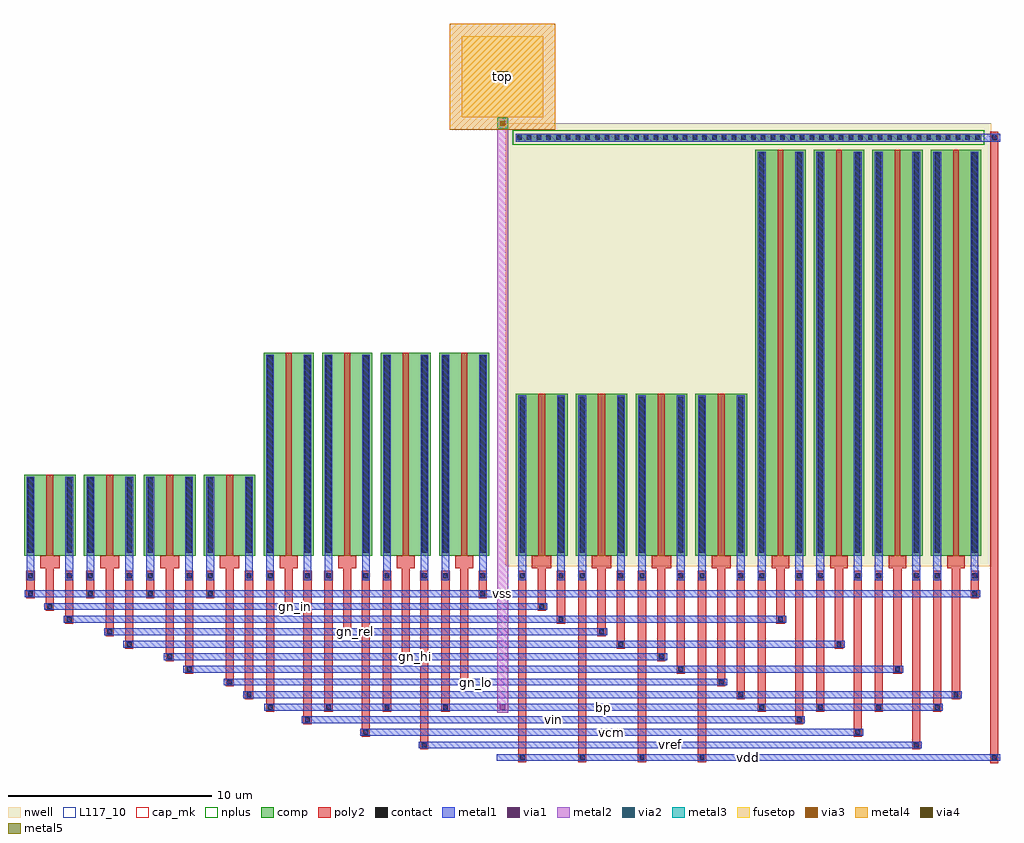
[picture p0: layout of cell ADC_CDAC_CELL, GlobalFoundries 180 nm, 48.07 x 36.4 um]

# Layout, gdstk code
import gdstk
lib = gdstk.Library(unit=1e-6, precision=1e-09)
def R(c, l, rs):  # rectangles x0, y0, x1, y1
    for r in rs: c.add(gdstk.rectangle(r[:2], r[2:], *l))
def A(c, l, x, y, w, h, nx, ny, dx, dy):  # array of equal rectangles
    R(c, l, [(x+i*dx, y+j*dy, x+i*dx+w, y+j*dy+h) for i in range(nx) for j in range(ny)])
nwell = (21, 0)
comp = (22, 0)
poly2 = (30, 0)
nplus = (32, 0)
contact = (33, 0)
metal1 = (34, 0)
via1 = (35, 0)
metal2 = (36, 0)
via2 = (38, 0)
via3 = (40, 0)
via4 = (41, 0)
metal3 = (42, 0)
metal4 = (46, 0)
fusetop = (75, 0)
metal5 = (81, 0)
cap_mk = (117, 5)
L117_10 = (117, 10)

adc_cdac_cell = lib.new_cell('ADC_CDAC_CELL')
R(adc_cdac_cell, nwell, [(23.72,-0.5,47.64,21.3)])
A(adc_cdac_cell, comp, 0, 0, 2.55, 4, 4, 1, 2.95, 0)
A(adc_cdac_cell, comp, 11.8, 0, 2.48, 10, 4, 1, 2.88, 0)
A(adc_cdac_cell, comp, 24.22, 0, 2.55, 8, 4, 1, 2.95, 0)
A(adc_cdac_cell, comp, 36.02, 0, 2.48, 20, 4, 1, 2.88, 0)
R(adc_cdac_cell, comp, [(24.22,20.4,47.14,20.8)])
A(adc_cdac_cell, poly2, 24.34, -10.15, 0.4, 8.95, 4, 1, 2.95, 0)
A(adc_cdac_cell, poly2, 11.92, -7.67, 0.4, 6.47, 4, 1, 2.88, 0)
A(adc_cdac_cell, poly2, 36.14, -7.67, 0.4, 6.47, 4, 1, 2.88, 0)
A(adc_cdac_cell, poly2, 0.12, -2.09, 0.4, 0.89, 4, 1, 2.95, 0)
A(adc_cdac_cell, poly2, 1.075, -1.2, 0.4, 0.6, 4, 1, 2.95, 0)
A(adc_cdac_cell, poly2, 12.84, -1.2, 0.4, 0.6, 4, 1, 2.88, 0)
A(adc_cdac_cell, poly2, 25.295, -1.2, 0.4, 0.6, 4, 1, 2.95, 0)
A(adc_cdac_cell, poly2, 37.06, -1.2, 0.4, 0.6, 4, 1, 2.88, 0)
A(adc_cdac_cell, poly2, 0.8, -0.6, 0.95, 0.6, 4, 1, 2.95, 0)
A(adc_cdac_cell, poly2, 12.6, -0.6, 0.88, 0.6, 4, 1, 2.88, 0)
A(adc_cdac_cell, poly2, 25.02, -0.6, 0.95, 0.6, 4, 1, 2.95, 0)
A(adc_cdac_cell, poly2, 36.82, -0.6, 0.88, 0.6, 4, 1, 2.88, 0)
A(adc_cdac_cell, poly2, 1.1, 0, 0.35, 4, 4, 1, 2.95, 0)
A(adc_cdac_cell, poly2, 12.9, 0, 0.28, 10, 4, 1, 2.88, 0)
A(adc_cdac_cell, poly2, 25.32, 0, 0.35, 8, 4, 1, 2.95, 0)
A(adc_cdac_cell, poly2, 37.12, 0, 0.28, 20, 4, 1, 2.88, 0)
R(adc_cdac_cell, poly2, [(47.59,-10.2,47.99,20.9), (19.52,-9.53,19.92,-1.2), (43.74,-9.53,44.14,-1.2), (16.64,-8.91,17.04,-1.2), (40.86,-8.91,41.26,-1.2), (13.76,-8.29,14.16,-1.2), (37.98,-8.29,38.38,-1.2), (10.88,-7.05,11.28,-1.2), (35.1,-7.05,35.5,-1.2), (45.7,-7.05,46.1,-1.2), (9.925,-6.43,10.325,-1.2), (21.48,-6.43,21.88,-1.2), (34.145,-6.43,34.545,-1.2), (7.93,-5.81,8.33,-1.2), (32.15,-5.81,32.55,-1.2), (42.82,-5.81,43.22,-1.2), (6.975,-5.19,7.375,-1.2), (18.6,-5.19,19,-1.2), (31.195,-5.19,31.595,-1.2), (4.98,-4.57,5.38,-1.2), (29.2,-4.57,29.6,-1.2), (39.94,-4.57,40.34,-1.2), (4.025,-3.95,4.425,-1.2), (15.72,-3.95,16.12,-1.2), (28.245,-3.95,28.645,-1.2), (2.03,-3.33,2.43,-1.2), (26.25,-3.33,26.65,-1.2), (37.06,-3.33,37.46,-1.2), (1.075,-2.71,1.475,-1.2), (12.84,-2.71,13.24,-1.2), (25.295,-2.71,25.695,-1.2), (22.4,-2.09,22.8,-1.2), (46.62,-2.09,47.02,-1.2), (0.12,-1.2,0.52,-0.74), (2.03,-1.2,2.43,-0.74), (3.07,-1.2,3.47,-0.74), (4.98,-1.2,5.38,-0.74), (6.02,-1.2,6.42,-0.74), (7.93,-1.2,8.33,-0.74), (8.97,-1.2,9.37,-0.74), (10.88,-1.2,11.28,-0.74), (11.92,-1.2,12.32,-0.74), (13.76,-1.2,14.16,-0.74), (14.8,-1.2,15.2,-0.74), (16.64,-1.2,17.04,-0.74), (17.68,-1.2,18.08,-0.74), (19.52,-1.2,19.92,-0.74), (20.56,-1.2,20.96,-0.74), (22.4,-1.2,22.8,-0.74), (24.34,-1.2,24.74,-0.74), (26.25,-1.2,26.65,-0.74), (27.29,-1.2,27.69,-0.74), (29.2,-1.2,29.6,-0.74), (30.24,-1.2,30.64,-0.74), (32.15,-1.2,32.55,-0.74), (33.19,-1.2,33.59,-0.74), (35.1,-1.2,35.5,-0.74), (36.14,-1.2,36.54,-0.74), (37.98,-1.2,38.38,-0.74), (39.02,-1.2,39.42,-0.74), (40.86,-1.2,41.26,-0.74), (41.9,-1.2,42.3,-0.74), (43.74,-1.2,44.14,-0.74), (44.78,-1.2,45.18,-0.74), (46.62,-1.2,47.02,-0.74)])
R(adc_cdac_cell, nplus, [(24.06,20.24,47.3,20.96)])
A(adc_cdac_cell, contact, 24.42, -10.05, 0.24, 0.24, 4, 1, 2.95, 0)
A(adc_cdac_cell, contact, 12, -7.57, 0.24, 0.24, 4, 1, 2.88, 0)
A(adc_cdac_cell, contact, 36.22, -7.57, 0.24, 0.24, 4, 1, 2.88, 0)
A(adc_cdac_cell, contact, 0.2, -1.99, 0.24, 0.24, 4, 1, 2.95, 0)
A(adc_cdac_cell, contact, 24.29, 20.49, 0.22, 0.22, 48, 1, 0.48, 0)
R(adc_cdac_cell, contact, [(47.67,-10.05,47.91,-9.81), (19.6,-9.43,19.84,-9.19), (43.82,-9.43,44.06,-9.19), (16.72,-8.81,16.96,-8.57), (40.94,-8.81,41.18,-8.57), (13.84,-8.19,14.08,-7.95), (38.06,-8.19,38.3,-7.95), (10.96,-6.95,11.2,-6.71), (35.18,-6.95,35.42,-6.71), (45.78,-6.95,46.02,-6.71), (10.005,-6.33,10.245,-6.09), (21.56,-6.33,21.8,-6.09), (34.225,-6.33,34.465,-6.09), (8.01,-5.71,8.25,-5.47), (32.23,-5.71,32.47,-5.47), (42.9,-5.71,43.14,-5.47), (7.055,-5.09,7.295,-4.85), (18.68,-5.09,18.92,-4.85), (31.275,-5.09,31.515,-4.85), (5.06,-4.47,5.3,-4.23), (29.28,-4.47,29.52,-4.23), (40.02,-4.47,40.26,-4.23), (4.105,-3.85,4.345,-3.61), (15.8,-3.85,16.04,-3.61), (28.325,-3.85,28.565,-3.61), (2.11,-3.23,2.35,-2.99), (26.33,-3.23,26.57,-2.99), (37.14,-3.23,37.38,-2.99), (1.155,-2.61,1.395,-2.37), (12.92,-2.61,13.16,-2.37), (25.375,-2.61,25.615,-2.37), (22.48,-1.99,22.72,-1.75), (46.7,-1.99,46.94,-1.75), (0.2,-1.1,0.44,-0.86), (2.11,-1.1,2.35,-0.86), (3.15,-1.1,3.39,-0.86), (5.06,-1.1,5.3,-0.86), (6.1,-1.1,6.34,-0.86), (8.01,-1.1,8.25,-0.86), (9.05,-1.1,9.29,-0.86), (10.96,-1.1,11.2,-0.86), (12,-1.1,12.24,-0.86), (13.84,-1.1,14.08,-0.86), (14.88,-1.1,15.12,-0.86), (16.72,-1.1,16.96,-0.86), (17.76,-1.1,18,-0.86), (19.6,-1.1,19.84,-0.86), (20.64,-1.1,20.88,-0.86), (22.48,-1.1,22.72,-0.86), (24.42,-1.1,24.66,-0.86), (26.33,-1.1,26.57,-0.86), (27.37,-1.1,27.61,-0.86), (29.28,-1.1,29.52,-0.86), (30.32,-1.1,30.56,-0.86), (32.23,-1.1,32.47,-0.86), (33.27,-1.1,33.51,-0.86), (35.18,-1.1,35.42,-0.86), (36.22,-1.1,36.46,-0.86), (38.06,-1.1,38.3,-0.86), (39.1,-1.1,39.34,-0.86), (40.94,-1.1,41.18,-0.86), (41.98,-1.1,42.22,-0.86), (43.82,-1.1,44.06,-0.86), (44.86,-1.1,45.1,-0.86), (46.7,-1.1,46.94,-0.86), (0.19,0.15,0.45,3.85), (2.1,0.15,2.36,3.85), (3.14,0.15,3.4,3.85), (5.05,0.15,5.31,3.85), (6.09,0.15,6.35,3.85), (8,0.15,8.26,3.85), (9.04,0.15,9.3,3.85), (10.95,0.15,11.21,3.85), (11.99,0.15,12.25,9.85), (13.83,0.15,14.09,9.85), (14.87,0.15,15.13,9.85), (16.71,0.15,16.97,9.85), (17.75,0.15,18.01,9.85), (19.59,0.15,19.85,9.85), (20.63,0.15,20.89,9.85), (22.47,0.15,22.73,9.85), (24.41,0.15,24.67,7.85), (26.32,0.15,26.58,7.85), (27.36,0.15,27.62,7.85), (29.27,0.15,29.53,7.85), (30.31,0.15,30.57,7.85), (32.22,0.15,32.48,7.85), (33.26,0.15,33.52,7.85), (35.17,0.15,35.43,7.85), (36.21,0.15,36.47,19.85), (38.05,0.15,38.31,19.85), (39.09,0.15,39.35,19.85), (40.93,0.15,41.19,19.85), (41.97,0.15,42.23,19.85), (43.81,0.15,44.07,19.85), (44.85,0.15,45.11,19.85), (46.69,0.15,46.95,19.85), (47.67,20.48,47.91,20.72)])
R(adc_cdac_cell, metal1, [(23.29,-10.1,48.07,-9.76), (19.44,-9.48,44.22,-9.14), (16.56,-8.86,41.34,-8.52), (13.68,-8.24,38.46,-7.9), (11.84,-7.62,45.26,-7.28), (10.8,-7,46.18,-6.66), (9.845,-6.38,34.625,-6.04), (7.85,-5.76,43.3,-5.42), (6.895,-5.14,31.675,-4.8), (4.9,-4.52,40.42,-4.18), (3.945,-3.9,28.725,-3.56), (1.95,-3.28,37.54,-2.94), (0.995,-2.66,25.775,-2.32), (0.04,-2.04,47.1,-1.7), (0.13,-1.2,0.51,0.09), (2.04,-1.2,2.42,0.09), (3.08,-1.2,3.46,0.09), (4.99,-1.2,5.37,0.09), (6.03,-1.2,6.41,0.09), (7.94,-1.2,8.32,0.09), (8.98,-1.2,9.36,0.09), (10.89,-1.2,11.27,0.09), (11.93,-1.2,12.31,0.09), (13.77,-1.2,14.15,0.09), (14.81,-1.2,15.19,0.09), (16.65,-1.2,17.03,0.09), (17.69,-1.2,18.07,0.09), (19.53,-1.2,19.91,0.09), (20.57,-1.2,20.95,0.09), (22.41,-1.2,22.79,0.09), (24.35,-1.2,24.73,0.09), (26.26,-1.2,26.64,0.09), (27.3,-1.2,27.68,0.09), (29.21,-1.2,29.59,0.09), (30.25,-1.2,30.63,0.09), (32.16,-1.2,32.54,0.09), (33.2,-1.2,33.58,0.09), (35.11,-1.2,35.49,0.09), (36.15,-1.2,36.53,0.09), (37.99,-1.2,38.37,0.09), (39.03,-1.2,39.41,0.09), (40.87,-1.2,41.25,0.09), (41.91,-1.2,42.29,0.09), (43.75,-1.2,44.13,0.09), (44.79,-1.2,45.17,0.09), (46.63,-1.2,47.01,0.09), (0.13,0.09,0.51,3.91), (2.04,0.09,2.42,3.91), (3.08,0.09,3.46,3.91), (4.99,0.09,5.37,3.91), (6.03,0.09,6.41,3.91), (7.94,0.09,8.32,3.91), (8.98,0.09,9.36,3.91), (10.89,0.09,11.27,3.91), (11.93,0.09,12.31,9.91), (13.77,0.09,14.15,9.91), (14.81,0.09,15.19,9.91), (16.65,0.09,17.03,9.91), (17.69,0.09,18.07,9.91), (19.53,0.09,19.91,9.91), (20.57,0.09,20.95,9.91), (22.41,0.09,22.79,9.91), (24.35,0.09,24.73,7.91), (26.26,0.09,26.64,7.91), (27.3,0.09,27.68,7.91), (29.21,0.09,29.59,7.91), (30.25,0.09,30.63,7.91), (32.16,0.09,32.54,7.91), (33.2,0.09,33.58,7.91), (35.11,0.09,35.49,7.91), (36.15,0.09,36.53,19.91), (37.99,0.09,38.37,19.91), (39.03,0.09,39.41,19.91), (40.87,0.09,41.25,19.91), (41.91,0.09,42.29,19.91), (43.75,0.09,44.13,19.91), (44.79,0.09,45.17,19.91), (46.63,0.09,47.01,19.91), (24.22,20.4,47.14,20.8), (24.22,20.4,48.07,20.8)])
R(adc_cdac_cell, via1, [(23.44,-7.58,23.7,-7.32)])
R(adc_cdac_cell, metal2, [(23.3,-7.72,23.84,21.57)])
R(adc_cdac_cell, via2, [(23.44,21.17,23.7,21.43)])
R(adc_cdac_cell, via3, [(23.44,21.17,23.7,21.43)])
R(adc_cdac_cell, via4, [(23.44,23.47,23.7,23.73)])
R(adc_cdac_cell, metal3, [(23.3,21.03,23.84,21.57)])
R(adc_cdac_cell, metal4, [(20.97,21,26.17,26.2)])
R(adc_cdac_cell, fusetop, [(21.57,21.6,25.57,25.6)])
R(adc_cdac_cell, metal5, [(23.3,23.33,23.84,23.87)])
R(adc_cdac_cell, cap_mk, [(21.57,21.6,25.57,25.6)])
R(adc_cdac_cell, L117_10, [(21.57,21.6,25.57,25.6)])
adc_cdac_cell.add(gdstk.Label('vss', (23.57,-1.87), layer=34, texttype=10))
adc_cdac_cell.add(gdstk.Label('gn_in', (13.385,-2.49), layer=34, texttype=10))
adc_cdac_cell.add(gdstk.Label('gn_rel', (16.335,-3.73), layer=34, texttype=10))
adc_cdac_cell.add(gdstk.Label('gn_hi', (19.285,-4.97), layer=34, texttype=10))
adc_cdac_cell.add(gdstk.Label('gn_lo', (22.235,-6.21), layer=34, texttype=10))
adc_cdac_cell.add(gdstk.Label('bp', (28.55,-7.45), layer=34, texttype=10))
adc_cdac_cell.add(gdstk.Label('vin', (26.07,-8.07), layer=34, texttype=10))
adc_cdac_cell.add(gdstk.Label('vcm', (28.95,-8.69), layer=34, texttype=10))
adc_cdac_cell.add(gdstk.Label('vref', (31.83,-9.31), layer=34, texttype=10))
adc_cdac_cell.add(gdstk.Label('vdd', (35.68,-9.93), layer=34, texttype=10))
adc_cdac_cell.add(gdstk.Label('top', (23.57,23.6), layer=81, texttype=10))

lib.write_gds('ADC_CDAC_CELL.gds')
